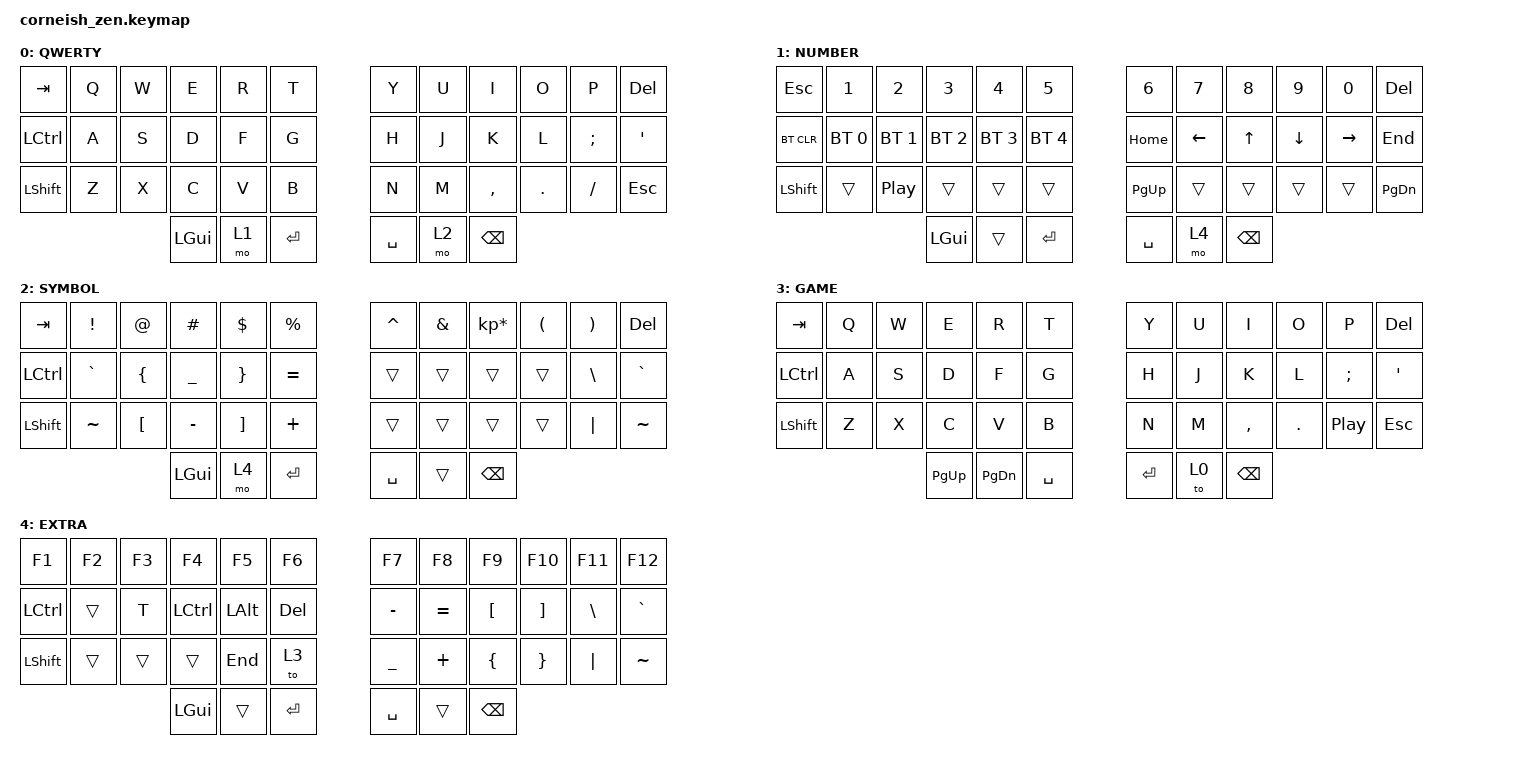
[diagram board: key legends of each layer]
#include <behaviors.dtsi>
#include <dt-bindings/zmk/keys.h>
#include <dt-bindings/zmk/bt.h>

/ {
  chosen {
    zmk,matrix_transform = &default_transform;
    //zmk,matrix_transform = &five_column_transform;
  };
};

/ {
        keymap {
                compatible = "zmk,keymap";

                default_layer {
                        label = "QWERTY";
// -----------------------------------------------------------------------------------------
// |  TAB |  Q  |  W  |  E  |  R  |  T  |   |  Y  |  U   |  I  |  O  |  P  | DEL  |
// | CTRL |  A  |  S  |  D  |  F  |  G  |   |  H  |  J   |  K  |  L  |  ;  |  '   |
// | SHFT |  Z  |  X  |  C  |  V  |  B  |   |  N  |  M   |  ,  |  .  |  /  | ESC  |
//                    | GUI | LWR | ENT |   | SPC | RSE  | BKSP |
                        bindings = <
   &kp TAB   &kp Q &kp W &kp E &kp R &kp T   &kp Y &kp U  &kp I     &kp O   &kp P    &kp DEL
   &kp LCTRL &kp A &kp S &kp D &kp F &kp G   &kp H &kp J  &kp K     &kp L   &kp SEMI &kp SQT
   &kp LSHFT &kp Z &kp X &kp C &kp V &kp B   &kp N &kp M  &kp COMMA &kp DOT &kp FSLH &kp ESC
                  &kp LGUI &mo 1 &kp RET   &kp SPACE &mo 2 &kp BSPC
                        >;
                };
                lower_layer {
                        label = "NUMBER";
// -----------------------------------------------------------------------------------------
// |  ESC |  1  |  2  |  3  |  4  |  5  |   |  6  |  7  |  8  |  9  |  0  | DEL  |
// | BTCLR| BT1 | BT2 | BT3 | BT4 | BT5 |   | HOME| LFT |  UP | DWN | RGT | END  | 
// | SHFT |     | PLAY|     |     |     |   | PGUP|     |     |     |     | PGDN |
//                    | GUI |     | ENT |   | SPC |     | BKSP |
                        bindings = <
   &kp ESC    &kp N1       &kp N2       &kp N3       &kp N4       &kp N5         &kp N6    &kp N7   &kp N8 &kp N9    &kp N0    &kp DEL
   &bt BT_CLR &bt BT_SEL 0 &bt BT_SEL 1 &bt BT_SEL 2 &bt BT_SEL 3 &bt BT_SEL 4   &kp HOME  &kp LEFT &kp UP &kp DOWN  &kp RIGHT &kp END
   &kp LSHFT  &trans       &kp C_PP     &trans       &trans       &trans         &kp PG_UP &trans   &trans &trans    &trans    &kp PG_DN
                   &kp LGUI     &trans       &kp RET      &kp SPACE  &mo 4   &kp BSPC
                        >;
                };

                raise_layer {
                        label = "SYMBOL";
// -----------------------------------------------------------------------------------------
// |  TAB |  !  |  @  |  #  |  $  |  %  |   |  ^  |  &  |  *  |  (  |  )  | DEL  |
// | CTRL |  `  |  {  |  _  |  }  |  =  |   |     |     |     |     |  \  |  `   |
// | SHFT |  ~  |  [  |  -  |  ]  |  +  |   |     |     |     |     | "|" |  ~   |
//                    | GUI |     | ENT |   | SPC |     | BKSP |
                        bindings = <
   &kp  TAB  &kp EXCL  &kp AT    &kp HASH  &kp DLLR   &kp PRCNT  &kp CARET &kp AMPS  &kp KP_MULTIPLY &kp LPAR &kp RPAR &kp DEL
   &kp LCTRL &kp GRAVE &kp LBRC  &kp UNDER &kp RBRC   &kp EQUAL  &trans    &trans    &trans          &trans   &kp BSLH &kp GRAVE
   &kp LSHFT &kp TILDE &kp LBKT  &kp MINUS &kp RBKT   &kp PLUS   &trans    &trans    &trans          &trans   &kp PIPE &kp TILDE
                    	     &kp LGUI &mo 4   &kp RET   &kp SPACE   &trans    &kp BSPC
                        >;
                };

                game_layer {
                        label = "GAME";
// -----------------------------------------------------------------------------------------
// |  TAB |  Q  |  W  |  E  |  R  |  T  |   |  Y  |  U   |  I  |  O  |  P  | DEL  |
// | CTRL |  A  |  S  |  D  |  F  |  G  |   |  H  |  J   |  K  |  L  |  ;  |  '   |
// | SHFT |  Z  |  X  |  C  |  V  |  B  |   |  N  |  M   |  ,  |  .  |  /  | ESC  |
//                    | PGUP | PGDN | SPC |   | ENT | TO-0  | BKSP |
                        bindings = <
   &kp TAB   &kp Q &kp W &kp E &kp R &kp T   &kp Y &kp U  &kp I     &kp O   &kp P    &kp DEL
   &kp LCTRL &kp A &kp S &kp D &kp F &kp G   &kp H &kp J  &kp K     &kp L   &kp SEMI &kp SQT
   &kp LSHFT &kp Z &kp X &kp C &kp V &kp B   &kp N &kp M  &kp COMMA &kp DOT &kp C_PLAY_PAUSE &kp ESC
                  &kp PG_UP &kp PG_DN &kp SPACE   &kp RET &to 0 &kp BSPC
                        >;
                };


                extra_layer {
                        label = "EXTRA";
// -----------------------------------------------------------------------------------------
// |  F1  |  F2 |  F3 | F4  | F5  | F6  |   | F7  | F8  | F9  | F10 | F11 | F12  |
// | CTRL |     |  T  | CTRL| ALT | DEL |   |  -  |  =  |  [  |  ]  |  \  |  `   |
// | SHFT |     |     |     | END |TO-3 |   |  _  |  +  |  {  |  }  | "|" |  ~   |
//                    | GUI |     | ENT |   | SPC |     | BKSP |
                        bindings = <
   &kp F1  &kp F2 &kp F3 &kp F4 &kp F5 &kp F6   &kp F7 &kp F8  &kp F9 &kp F10 &kp F11 &kp F12
   &kp LCTRL &trans   &kp T &kp LCTRL &kp LALT &kp DEL    &kp MINUS &kp EQUAL &kp LBKT        &kp RBKT &kp BSLH &kp GRAVE
   &kp LSHFT &trans   &trans &trans   &kp END   &to 3      &kp UNDER &kp PLUS  &kp LBRC        &kp RBRC &kp PIPE &kp TILDE
                    	     &kp LGUI &trans   &kp RET   &kp SPACE   &trans    &kp BSPC
                        >;

		};

        };
};
